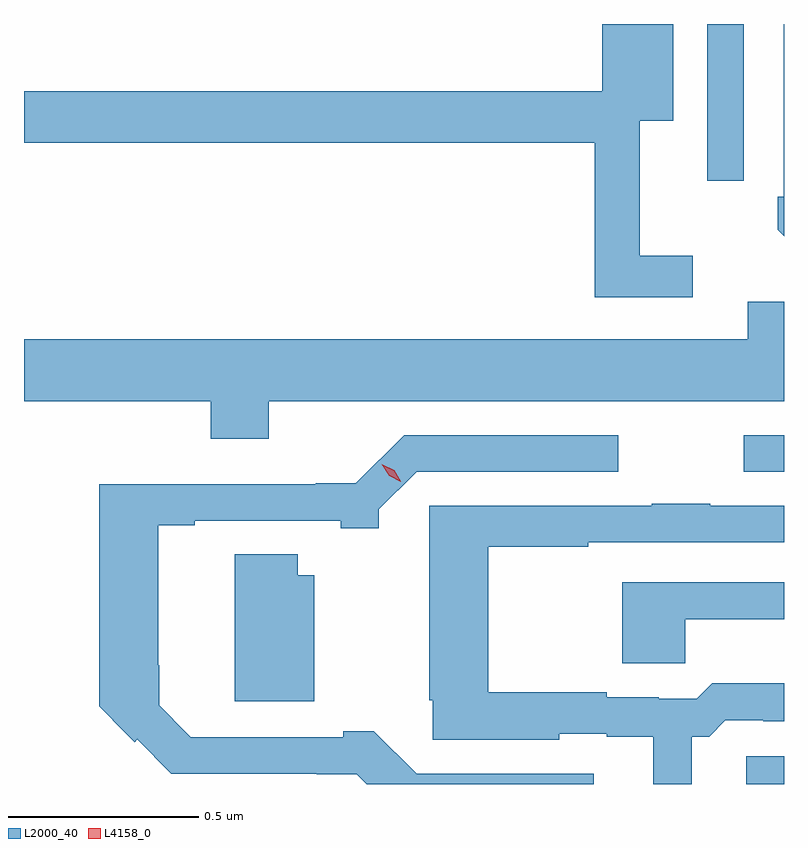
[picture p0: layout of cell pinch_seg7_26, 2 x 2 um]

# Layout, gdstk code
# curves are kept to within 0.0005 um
import gdstk
lib = gdstk.Library(unit=1e-6, precision=1e-09)
def R(c, l, rs):  # rectangles x0, y0, x1, y1
    for r in rs: c.add(gdstk.rectangle(r[:2], r[2:], *l))
def P(c, l, *ps):  # polygons
    for p in ps: c.add(gdstk.Polygon(p, *l))
L2000_40 = (2000, 40)
L4158_0 = (4158, 0)

pinch_seg7_26 = lib.new_cell('pinch_seg7_26')
R(pinch_seg7_26, L2000_40, [(1044.189,1068.873,1044.289,1068.946), (1044.183,1069.695,1044.289,1069.791), (1044.087,1070.46,1044.183,1070.873)])
P(pinch_seg7_26, L2000_40, [(1044.049,1070.263),(1043.909,1070.263),(1043.909,1070.618),(1043.998,1070.618),(1043.998,1070.873),(1043.811,1070.873),(1043.811,1070.696),(1042.289,1070.696),(1042.289,1070.56),(1043.791,1070.56),(1043.791,1070.154),(1044.049,1070.154)],
  [(1044.289,1070.873),(1044.288,1070.873),(1044.288,1070.419),(1044.273,1070.419),(1044.273,1070.331),(1044.289,1070.315)],
  [(1042.933,1069.88),(1044.289,1069.88),(1044.289,1070.142),(1044.194,1070.142),(1044.194,1070.044),(1042.289,1070.044),(1042.289,1069.88),(1042.781,1069.88),(1042.781,1069.781),(1042.933,1069.781)],
  [(1043.788,1068.9),(1043.322,1068.9),(1043.21,1069.012),(1043.129,1069.012),(1043.129,1068.996),(1042.728,1068.996),(1042.645,1069.08),(1042.645,1069.186),(1042.642,1069.186),(1042.642,1069.554),(1042.738,1069.554),(1042.738,1069.566),(1043.123,1069.566),(1043.123,1069.546),(1043.223,1069.546),(1043.223,1069.596),(1043.322,1069.695),(1043.853,1069.695),(1043.853,1069.791),(1043.289,1069.791),(1043.162,1069.664),(1043.057,1069.664),(1043.057,1069.662),(1042.487,1069.662),(1042.487,1069.077),(1042.58,1068.983),(1042.587,1068.991),(1042.677,1068.9),(1043.06,1068.9),(1043.06,1068.899),(1043.165,1068.899),(1043.191,1068.873),(1043.788,1068.873)],
  [(1044.046,1068.998),(1044.092,1068.998),(1044.135,1069.041),(1044.235,1069.041),(1044.235,1069.038),(1044.289,1069.038),(1044.289,1069.138),(1044.1,1069.138),(1044.06,1069.098),(1043.96,1069.098),(1043.96,1069.101),(1043.823,1069.101),(1043.823,1069.114),(1043.511,1069.114),(1043.511,1069.497),(1043.774,1069.497),(1043.774,1069.509),(1044.289,1069.509),(1044.289,1069.605),(1044.095,1069.605),(1044.095,1069.61),(1043.941,1069.61),(1043.941,1069.605),(1043.356,1069.605),(1043.356,1069.093),(1043.364,1069.093),(1043.364,1068.989),(1043.697,1068.989),(1043.697,1069.005),(1043.823,1069.005),(1043.823,1068.998),(1043.945,1068.998),(1043.945,1068.873),(1044.046,1068.873)],
  [(1043.053,1069.423),(1043.01,1069.423),(1043.01,1069.477),(1042.844,1069.477),(1042.844,1069.091),(1043.053,1069.091)],
  [(1044.029,1069.307),(1044.289,1069.307),(1044.289,1069.404),(1043.863,1069.404),(1043.863,1069.191),(1044.029,1069.191)])
P(pinch_seg7_26, L4158_0, [(1043.281,1069.669),(1043.25,1069.684),(1043.231,1069.714),(1043.231,1069.714),(1043.231,1069.714),(1043.263,1069.699),(1043.281,1069.67),(1043.281,1069.669)])

lib.write_gds('pinch_seg7_26.gds')
